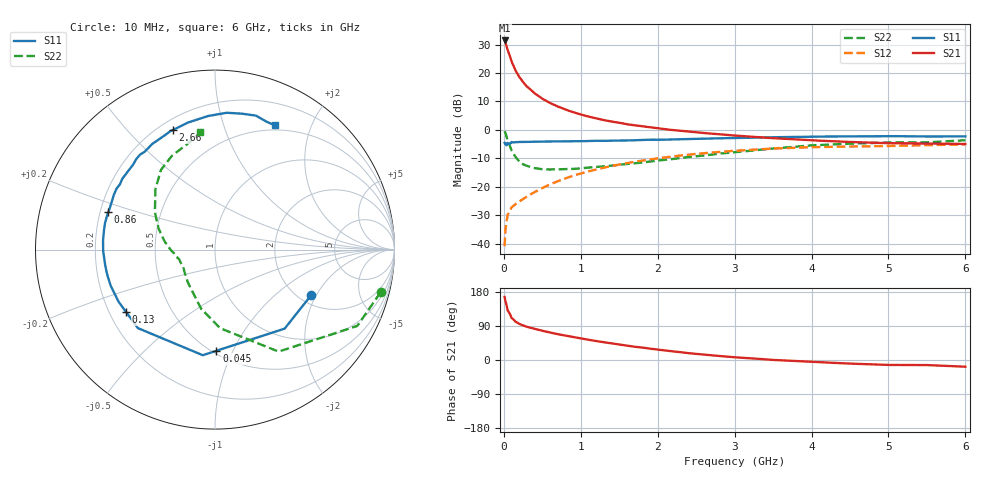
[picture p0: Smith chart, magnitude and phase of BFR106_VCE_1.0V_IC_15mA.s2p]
! Infineon Technologies  Discrete & RF Semiconductors
! BFR106
! VCE =  1.0 V,  IC =  15 mA
! Common Emitter S-Parameters:  Nov 2015
# GHz  S  MA  R  50
!  f  S11  S21  S12  S22
! GHz  MAG  ANG  MAG  ANG  MAG  ANG  MAG  ANG
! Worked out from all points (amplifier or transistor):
!   210 points, 10 MHz to 6 GHz, reference 50 ohm
!   highest |S21| = 31.4 dB at 10 MHz (marker M1)
!   |S21| within 3 dB of that: start of sweep to 46.06 MHz
!   unconditionally stable (mu >= 1): 384.2 MHz to 3.417 GHz; 3.652 GHz to 3.935 GHz; 4.029 GHz to end of sweep
!   at 185 MHz: K = 0.71, MSG = 22.4 dB, |S12| = -25.4 dB
!   at 1.52 GHz: K = 1.09, MAG = 5.4 dB, |S12| = -12.0 dB
!   at 6 GHz: K = 1.03, MAG = -0.9 dB, |S12| = -5.1 dB
!   S11 on the Smith chart (normalised r, x): 10 MHz: 2.31, -1.81; 45 MHz: 0.52, -0.87; 130 MHz: 0.27, -0.30; 860 MHz: 0.23, +0.16; 2.66 GHz: 0.25, +0.68; 6 GHz: 0.44, +1.50
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0.01  0.5928 -25.4  37.29 166.5  0.0091 79.7  0.9528 -14.5
0.02  0.5869 -48.6  34.85 155.3  0.0173 69.6  0.8995 -28.2
0.045  0.5637 -89.2  26.65 135.7  0.0297 54.6  0.6924 -51.8
0.05  0.5923 -96.6  25.52 130.5  0.0323 53.0  0.67 -58.0
0.1  0.6132 -134.5  15.89 111.1  0.0435 44.5  0.4393 -86.2
0.13  0.6051 -144.8  12.98 106.0  0.0472 44.6  0.3742 -95.4
0.15  0.6107 -151.7  11.12 101.2  0.0496 44.6  0.3378 -103.3
0.2  0.6151 -161.0  8.571 95.3  0.0554 46.8  0.2811 -114.2
0.26  0.6167 -168.2  6.663 90.2  0.0626 49.8  0.2462 -125.4
0.3  0.6178 -172.0  5.78 87.5  0.0677 51.8  0.2345 -130.7
0.4  0.623 -179.2  4.396 82.0  0.081 55.5  0.2141 -141.5
0.5  0.6259 175.3  3.541 77.1  0.0955 57.4  0.2042 -148.8
0.7  0.6302 166.4  2.584 68.1  0.1254 59.2  0.204 -157.5
0.86  0.63 160.7  2.141 62.2  0.1505 58.9  0.206 -163.6
1.02  0.6346 154.6  1.834 56.5  0.175 58.1  0.213 -167.5
1.4  0.6499 142.7  1.401 44.1  0.2326 54.2  0.2366 -176.5
2.02  0.6724 125.3  1.058 27.0  0.3197 45.3  0.292 168.9
2.66  0.7068 109.3  0.87 13.2  0.3966 34.9  0.3632 153.4
3.1  0.7263 100.2  0.781 5.9  0.4382 27.6  0.4179 143.0
4.1  0.7658 83.8  0.649 -5.9  0.5005 12.3  0.5432 122.1
5.1  0.7775 72.0  0.584 -13.1  0.5257 0.3  0.6032 105.9
6  0.7692 64.1  0.568 -17.7  0.5577 -8.6  0.6597 97.1
